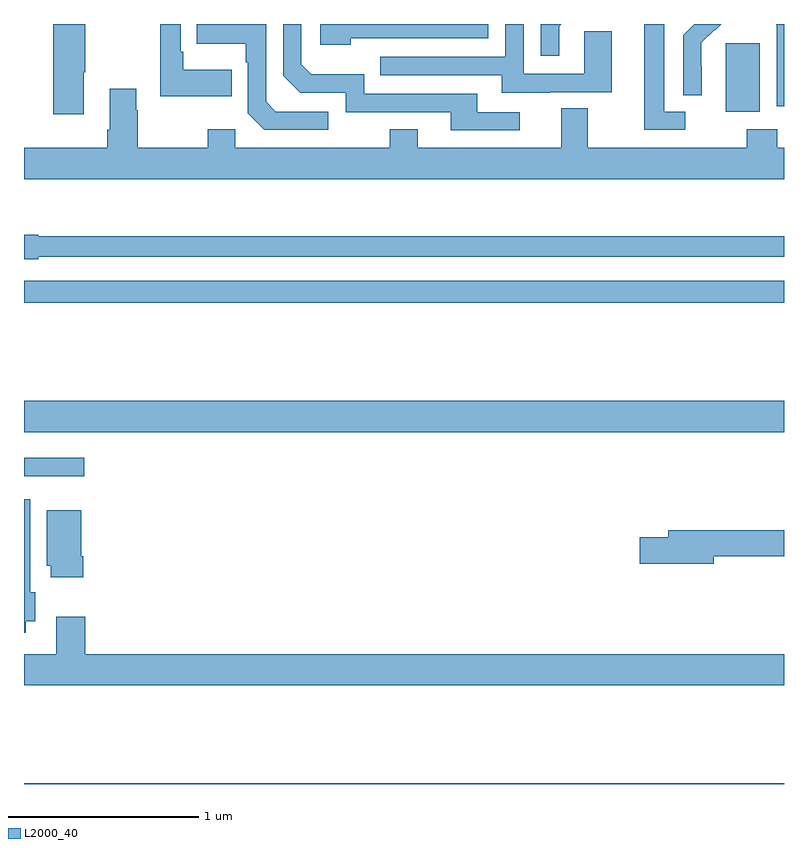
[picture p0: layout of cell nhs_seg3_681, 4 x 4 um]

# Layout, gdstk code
import gdstk
lib = gdstk.Library(unit=1e-6, precision=1e-09)
def R(c, l, rs):  # rectangles x0, y0, x1, y1
    for r in rs: c.add(gdstk.rectangle(r[:2], r[2:], *l))
def P(c, l, *ps):  # polygons
    for p in ps: c.add(gdstk.Polygon(p, *l))
L2000_40 = (2000, 40)

nhs_seg3_681 = lib.new_cell('nhs_seg3_681')
R(nhs_seg3_681, L2000_40, [(145,696.4,149,696.404), (145,698.019,145.318,698.116), (145,698.252,149,698.416), (145,698.932,149,699.048), (148.694,699.938,148.873,700.299)])
P(nhs_seg3_681, L2000_40, [(147.817,700.389),(147.828,700.4),(147.72,700.4),(147.72,700.233),(147.817,700.233)],
  [(146.093,700.159),(145.837,700.159),(145.837,700.255),(145.824,700.255),(145.824,700.4),(145.716,700.4),(145.716,700.019),(146.093,700.019)],
  [(147.61,699.936),(147.385,699.936),(147.385,700.032),(146.79,700.032),(146.79,700.135),(146.513,700.135),(146.46,700.188),(146.46,700.4),(146.364,700.4),(146.364,700.128),(146.454,700.038),(146.694,700.038),(146.694,699.936),(147.245,699.936),(147.245,699.84),(147.61,699.84)],
  [(147.769,700.041),(148.093,700.041),(148.093,700.361),(147.948,700.361),(147.948,700.137),(147.63,700.137),(147.63,700.4),(147.534,700.4),(147.534,700.227),(146.875,700.227),(146.875,700.131),(147.515,700.131),(147.515,700.037),(147.769,700.037)],
  [(149,700.4),(148.96,700.4),(148.96,700.396),(148.962,700.396),(148.962,699.967),(149,699.967)],
  [(148.566,700.178),(148.565,700.178),(148.565,700.301),(148.635,700.371),(148.638,700.368),(148.67,700.4),(148.528,700.4),(148.47,700.342),(148.47,700.024),(148.566,700.024)],
  [(146.72,700.326),(147.444,700.326),(147.444,700.4),(146.559,700.4),(146.559,700.292),(146.72,700.292)],
  [(145.315,700.147),(145.323,700.147),(145.323,700.4),(145.153,700.4),(145.153,699.924),(145.315,699.924)],
  [(146.602,699.939),(146.325,699.939),(146.274,699.99),(146.274,700.4),(145.909,700.4),(145.909,700.295),(146.166,700.295),(146.166,700.199),(146.178,700.199),(146.178,699.93),(146.265,699.843),(146.602,699.843)],
  [(148.48,699.939),(148.369,699.939),(148.369,700.4),(148.265,700.4),(148.265,699.843),(148.48,699.843)],
  [(149,699.748),(148.964,699.748),(148.964,699.847),(148.804,699.847),(148.804,699.748),(147.967,699.748),(147.967,699.956),(147.827,699.956),(147.827,699.748),(147.073,699.748),(147.073,699.847),(146.926,699.847),(146.926,699.748),(146.112,699.748),(146.112,699.847),(145.966,699.847),(145.966,699.748),(145.599,699.748),(145.599,699.947),(145.591,699.947),(145.591,700.06),(145.451,700.06),(145.451,699.844),(145.439,699.844),(145.439,699.748),(145,699.748),(145,699.584),(149,699.584)],
  [(145.074,699.174),(149,699.174),(149,699.283),(145.074,699.283),(145.074,699.291),(145,699.291),(145,699.161),(145.074,699.161)],
  [(145.009,697.256),(145.06,697.256),(145.06,697.41),(145.033,697.41),(145.033,697.9),(145,697.9),(145,697.196),(145.009,697.196)],
  [(145.313,697.6),(145.3,697.6),(145.3,697.84),(145.121,697.84),(145.121,697.548),(145.142,697.548),(145.142,697.488),(145.313,697.488)],
  [(148.63,697.6),(149,697.6),(149,697.736),(148.391,697.736),(148.391,697.7),(148.242,697.7),(148.242,697.558),(148.63,697.558)],
  [(149,697.084),(145.322,697.084),(145.322,697.279),(145.169,697.279),(145.169,697.084),(145,697.084),(145,696.92),(149,696.92)])

lib.write_gds('nhs_seg3_681.gds')
